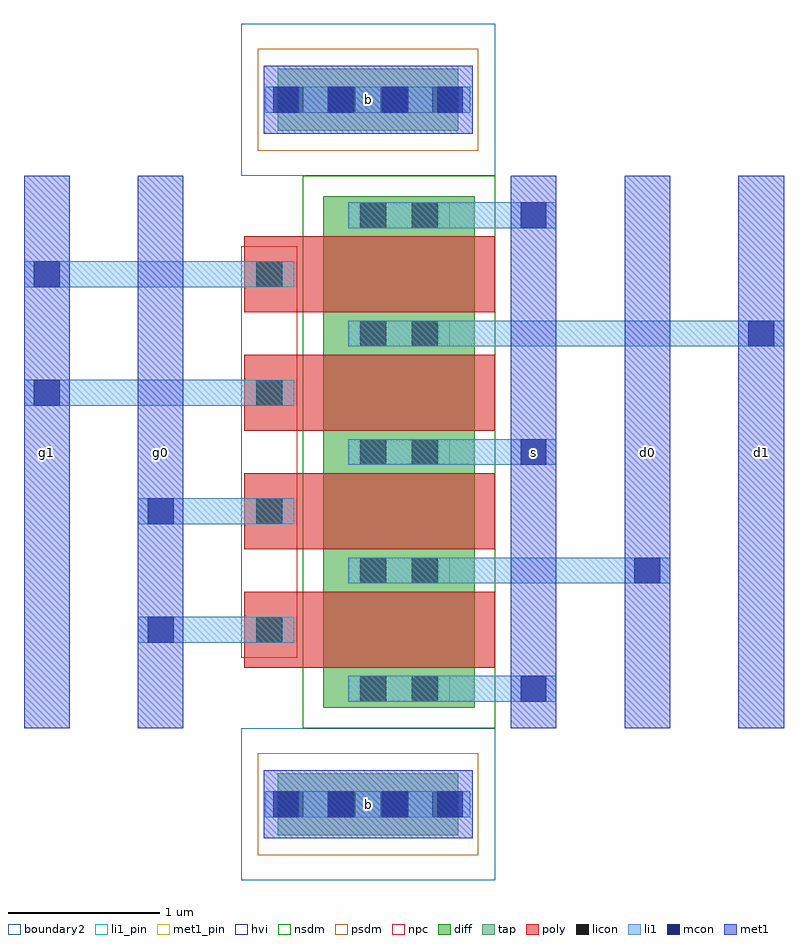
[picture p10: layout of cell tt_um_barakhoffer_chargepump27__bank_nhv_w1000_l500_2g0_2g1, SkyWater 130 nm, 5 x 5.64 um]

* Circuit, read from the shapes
.subckt tt_um_barakhoffer_chargepump27__bank_nhv_w1000_l500_2g0_2g1 b d0 d1 g0 g1 s
XM1 d0 g0 s b sky130_fd_pr__nfet_g5v0d10v5 w=1 l=0.5 m=2
XM2 d1 g1 s b sky130_fd_pr__nfet_g5v0d10v5 w=1 l=0.5 m=2
.ends

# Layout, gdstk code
import gdstk
lib = gdstk.Library(unit=1e-6, precision=1e-09)
def R(c, l, rs):  # rectangles x0, y0, x1, y1
    for r in rs: c.add(gdstk.rectangle(r[:2], r[2:], *l))
def A(c, l, x, y, w, h, nx, ny, dx, dy):  # array of equal rectangles
    R(c, l, [(x+i*dx, y+j*dy, x+i*dx+w, y+j*dy+h) for i in range(nx) for j in range(ny)])
diff = (65, 20)
tap = (65, 44)
poly = (66, 20)
licon = (66, 44)
li1_pin = (67, 16)
li1 = (67, 20)
mcon = (67, 44)
met1_pin = (68, 16)
met1 = (68, 20)
hvi = (75, 20)
nsdm = (93, 44)
psdm = (94, 20)
npc = (95, 20)
boundary2 = (236, 0)

tt_um_barakhoffer_charge = lib.new_cell('tt_um_barakhoffer_chargepump27__mos_23')
A(tt_um_barakhoffer_charge, diff, 0.185, 0, 0.63, 0.25, 1, 5, 0, 0.78)
R(tt_um_barakhoffer_charge, diff, [(0,0,1,3.37)])
A(tt_um_barakhoffer_charge, poly, -0.52, 0.265, 0.33, 0.5, 1, 4, 0, 0.78)
A(tt_um_barakhoffer_charge, poly, -0.19, 0.265, 1.32, 0.5, 1, 4, 0, 0.78)
A(tt_um_barakhoffer_charge, poly, -0.52, 0.38, 0.33, 0.27, 1, 4, 0, 0.78)
A(tt_um_barakhoffer_charge, licon, 0.245, 0.04, 0.17, 0.17, 1, 5, 0, 0.78)
A(tt_um_barakhoffer_charge, licon, 0.585, 0.04, 0.17, 0.17, 1, 5, 0, 0.78)
A(tt_um_barakhoffer_charge, licon, -0.44, 0.43, 0.17, 0.17, 1, 4, 0, 0.78)
A(tt_um_barakhoffer_charge, li1_pin, 0.165, 0.04, 0.67, 0.17, 1, 5, 0, 0.78)
A(tt_um_barakhoffer_charge, li1_pin, -0.52, 0.43, 0.33, 0.17, 1, 4, 0, 0.78)
R(tt_um_barakhoffer_charge, li1, [(0.165,0.04,0.835,0.21), (0.165,0.04,0.835,0.21), (-0.52,0.43,-0.19,0.6), (-0.52,0.43,-0.19,0.6), (0.165,0.82,0.835,0.99), (0.165,0.82,0.835,0.99), (-0.52,1.21,-0.19,1.38), (-0.52,1.21,-0.19,1.38), (0.165,1.6,0.835,1.77), (0.165,1.6,0.835,1.77), (-0.52,1.99,-0.19,2.16), (-0.52,1.99,-0.19,2.16), (0.165,2.38,0.835,2.55), (0.165,2.38,0.835,2.55), (-0.52,2.77,-0.19,2.94), (-0.52,2.77,-0.19,2.94), (0.165,3.16,0.835,3.33), (0.165,3.16,0.835,3.33)])
R(tt_um_barakhoffer_charge, hvi, [(-0.135,-0.135,1.135,3.505)])
R(tt_um_barakhoffer_charge, nsdm, [(-0.135,-0.135,1.135,3.505)])
A(tt_um_barakhoffer_charge, npc, -0.54, 0.33, 0.37, 0.37, 1, 4, 0, 0.78)
R(tt_um_barakhoffer_charge, npc, [(-0.54,0.33,-0.17,3.04)])
tt_um_barakhoffer_charge.add(gdstk.Label('gate_0', (-0.355,0.515), layer=67, texttype=5))
tt_um_barakhoffer_charge.add(gdstk.Label('sd_0_0', (0.5,0.125), layer=67, texttype=5))
tt_um_barakhoffer_charge.add(gdstk.Label('sd_0_3', (0.5,2.465), layer=67, texttype=5))
tt_um_barakhoffer_charge.add(gdstk.Label('gate_2', (-0.355,2.075), layer=67, texttype=5))
tt_um_barakhoffer_charge.add(gdstk.Label('sd_0_4', (0.5,3.245), layer=67, texttype=5))
tt_um_barakhoffer_charge.add(gdstk.Label('gate_1', (-0.355,1.295), layer=67, texttype=5))
tt_um_barakhoffer_charge.add(gdstk.Label('sd_0_1', (0.5,0.905), layer=67, texttype=5))
tt_um_barakhoffer_charge.add(gdstk.Label('gate_3', (-0.355,2.855), layer=67, texttype=5))
tt_um_barakhoffer_charge.add(gdstk.Label('sd_0_2', (0.5,1.685), layer=67, texttype=5))

c_tt_um_barakhoffer_charge = lib.new_cell('tt_um_barakhoffer_chargepump27__bank_nhv_w1000_l500_2g0_2g1')
R(c_tt_um_barakhoffer_charge, tap, [(0.24,0.295,1.43,0.705), (0.24,4.935,1.43,5.345)])
A(c_tt_um_barakhoffer_charge, licon, 0.24, 0.415, 0.17, 0.17, 4, 2, 0.34, 4.64)
A(c_tt_um_barakhoffer_charge, li1, 0.705, 1.175, 1.37, 0.17, 1, 3, 0, 1.56)
A(c_tt_um_barakhoffer_charge, li1, 1.84, 1.175, 0.17, 0.17, 1, 3, 0, 1.56)
R(c_tt_um_barakhoffer_charge, li1, [(0.16,0.415,1.51,0.585), (0.21,0.415,1.46,0.585), (-0.68,1.565,0.35,1.735), (-0.615,1.565,-0.445,1.735), (0.705,1.955,2.825,2.125), (2.59,1.955,2.76,2.125), (-0.68,2.345,0.35,2.515), (-0.615,2.345,-0.445,2.515), (-1.43,3.125,0.35,3.295), (-1.365,3.125,-1.195,3.295), (0.705,3.515,3.575,3.685), (3.34,3.515,3.51,3.685), (-1.43,3.905,0.35,4.075), (-1.365,3.905,-1.195,4.075), (0.16,5.055,1.51,5.225), (0.21,5.055,1.46,5.225)])
A(c_tt_um_barakhoffer_charge, mcon, 0.21, 0.415, 0.17, 0.17, 4, 2, 0.36, 4.64)
A(c_tt_um_barakhoffer_charge, mcon, 1.84, 1.175, 0.17, 0.17, 1, 3, 0, 1.56)
R(c_tt_um_barakhoffer_charge, mcon, [(-0.615,1.565,-0.445,1.735), (2.59,1.955,2.76,2.125), (-0.615,2.345,-0.445,2.515), (-1.365,3.125,-1.195,3.295), (3.34,3.515,3.51,3.685), (-1.365,3.905,-1.195,4.075)])
A(c_tt_um_barakhoffer_charge, met1_pin, 1.775, 1, 0.3, 3.64, 3, 1, 0.75, 0)
R(c_tt_um_barakhoffer_charge, met1_pin, [(0.15,0.275,1.525,0.725), (-1.43,1,-1.13,4.64), (-0.68,1,-0.38,4.64), (0.15,4.915,1.525,5.365)])
A(c_tt_um_barakhoffer_charge, met1, 1.78, 1.145, 0.29, 0.23, 1, 3, 0, 1.56)
R(c_tt_um_barakhoffer_charge, met1, [(0.15,0.275,1.525,0.725), (0.15,0.275,1.525,0.725), (0.15,0.385,1.52,0.615), (-1.43,1,-1.13,4.64), (-1.43,1,-1.13,4.64), (-0.68,1,-0.38,4.64), (-0.68,1,-0.38,4.64), (1.775,1,2.075,4.64), (1.775,1,2.075,4.64), (2.525,1,2.825,4.64), (2.525,1,2.825,4.64), (3.275,1,3.575,4.64), (3.275,1,3.575,4.64), (-0.675,1.535,-0.385,1.765), (2.53,1.925,2.82,2.155), (-0.675,2.315,-0.385,2.545), (-1.425,3.095,-1.135,3.325), (3.28,3.485,3.57,3.715), (-1.425,3.875,-1.135,4.105), (0.15,4.915,1.525,5.365), (0.15,4.915,1.525,5.365), (0.15,5.025,1.52,5.255)])
R(c_tt_um_barakhoffer_charge, psdm, [(0.11,0.165,1.56,0.835), (0.11,4.805,1.56,5.475)])
R(c_tt_um_barakhoffer_charge, boundary2, [(0,0,1.675,1), (0,4.64,1.675,5.64)])
c_tt_um_barakhoffer_charge.add(gdstk.Reference(tt_um_barakhoffer_charge, (0.54,1.135)))
c_tt_um_barakhoffer_charge.add(gdstk.Label('s', (1.925,2.82), layer=68, texttype=5))
c_tt_um_barakhoffer_charge.add(gdstk.Label('d0', (2.675,2.82), layer=68, texttype=5))
c_tt_um_barakhoffer_charge.add(gdstk.Label('g0', (-0.53,2.82), layer=68, texttype=5))
c_tt_um_barakhoffer_charge.add(gdstk.Label('g1', (-1.28,2.82), layer=68, texttype=5))
c_tt_um_barakhoffer_charge.add(gdstk.Label('b', (0.837,0.5), layer=68, texttype=5))
c_tt_um_barakhoffer_charge.add(gdstk.Label('b', (0.837,5.14), layer=68, texttype=5))
c_tt_um_barakhoffer_charge.add(gdstk.Label('d1', (3.425,2.82), layer=68, texttype=5))

lib.write_gds('tt_um_barakhoffer_chargepump27__bank_nhv_w1000_l500_2g0_2g1.gds')
